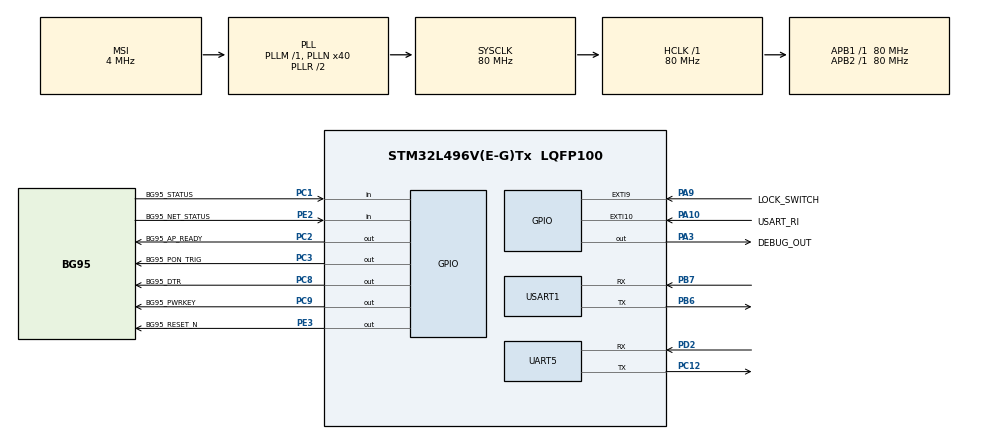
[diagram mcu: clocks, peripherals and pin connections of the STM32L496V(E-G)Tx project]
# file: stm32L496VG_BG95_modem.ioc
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Dma.Request0=USART1_RX
Dma.USART1_RX.0.Direction=DMA_PERIPH_TO_MEMORY
Dma.USART1_RX.0.Instance=DMA1_Channel5
Dma.USART1_RX.0.MemDataAlignment=DMA_MDATAALIGN_BYTE
Dma.USART1_RX.0.MemInc=DMA_MINC_ENABLE
Dma.USART1_RX.0.Mode=DMA_CIRCULAR
Dma.USART1_RX.0.PeriphDataAlignment=DMA_PDATAALIGN_BYTE
Dma.USART1_RX.0.PeriphInc=DMA_PINC_DISABLE
Dma.USART1_RX.0.Priority=DMA_PRIORITY_LOW
Mcu.Family=STM32L4
Mcu.Name=STM32L496V(E-G)Tx
Mcu.Package=LQFP100
NVIC.DMA1_Channel5_IRQn=true\:0\:0\:false\:false\:true\:false\:true\:true
NVIC.PriorityGroup=NVIC_PRIORITYGROUP_4
NVIC.USART1_IRQn=true\:0\:0\:false\:false\:true\:true\:true\:true
PA10.GPIO_Label=USART_RI
PA10.Signal=GPXTI10
PA3.GPIO_Label=DEBUG_OUT
PA3.Signal=GPIO_Output
PA9.GPIO_Label=LOCK_SWITCH
PA9.Signal=GPXTI9
PB6.Mode=Asynchronous
PB6.Signal=USART1_TX
PB7.GPIO_FM7=__NULL
PB7.GPIO_ModeDefaultPP=GPIO_MODE_AF_PP
PB7.GPIO_PuPd=GPIO_PULLUP
PB7.GPIO_Speed=GPIO_SPEED_FREQ_VERY_HIGH
PB7.Mode=Asynchronous
PB7.Signal=USART1_RX
PC1.GPIO_Label=BG95_STATUS
PC1.Signal=GPIO_Input
PC12.Mode=Asynchronous
PC12.Signal=UART5_TX
PC2.GPIO_Label=BG95_AP_READY
PC2.Signal=GPIO_Output
PC3.GPIO_Label=BG95_PON_TRIG
PC3.Signal=GPIO_Output
PC8.GPIO_Label=BG95_DTR
PC8.Signal=GPIO_Output
PC9.GPIO_Label=BG95_PWRKEY
PC9.PinState=GPIO_PIN_SET
PC9.Signal=GPIO_Output
PD2.Mode=Asynchronous
PD2.Signal=UART5_RX
PE2.GPIO_Label=BG95_NET_STATUS
PE2.Signal=GPIO_Input
PE3.GPIO_Label=BG95_RESET_N
PE3.PinState=GPIO_PIN_SET
PE3.Signal=GPIO_Output
ProjectManager.HeapSize=0x200
ProjectManager.StackSize=0x400
ProjectManager.TargetToolchain=STM32CubeIDE
RCC.AHBFreq_Value=80000000
RCC.APB1Freq_Value=80000000
RCC.APB1TimFreq_Value=80000000
RCC.APB2Freq_Value=80000000
RCC.APB2TimFreq_Value=80000000
RCC.CortexFreq_Value=80000000
RCC.HCLKFreq_Value=80000000
RCC.HSE_VALUE=8000000
RCC.HSI48_VALUE=48000000
RCC.HSI_VALUE=16000000
RCC.LSE_VALUE=32768
RCC.MSI_VALUE=4000000
RCC.PLLN=40
RCC.SYSCLKFreq_VALUE=80000000
RCC.SYSCLKSource=RCC_SYSCLKSOURCE_PLLCLK
RCC.VCOOutputFreq_Value=160000000
USART1.OverrunDisableParam=ADVFEATURE_OVERRUN_ENABLE
USART1.VirtualMode-Asynchronous=VM_ASYNC
board=custom

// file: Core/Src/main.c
/* USER CODE BEGIN Header */
/**
  ******************************************************************************
  * @file           : main.c
  * @brief          : Main program body
  ******************************************************************************
  * @attention
  *
  * <h2><center>&copy; Copyright (c) 2022 STMicroelectronics.
  * All rights reserved.</center></h2>
  *
  * This software component is licensed by ST under BSD 3-Clause license,
  * the "License"; You may not use this file except in compliance with the
  * License. You may obtain a copy of the License at:
  *                        opensource.org/licenses/BSD-3-Clause
  *
  ******************************************************************************
  */
/* USER CODE END Header */
#include "main.h"

/* USER CODE BEGIN Includes */
#include <stdbool.h>
#include <stdio.h>
#include <string.h>
/* USER CODE END Includes */

/* USER CODE BEGIN PTD */
#define RX_BUFFER_LEN 1024
/* USER CODE END PTD */

UART_HandleTypeDef huart5;
UART_HandleTypeDef huart1;
DMA_HandleTypeDef hdma_usart1_rx;

/* USER CODE BEGIN PV */
uint8_t receive_buffer[RX_BUFFER_LEN];
char msg[80];
/* USER CODE END PV */

void SystemClock_Config(void);
static void MX_GPIO_Init(void);
static void MX_USART1_UART_Init(void);
static void MX_DMA_Init(void);
static void MX_UART5_Init(void);

/* USER CODE BEGIN 0 */
void debug_write(char *data){
  HAL_UART_Transmit(&huart5, (uint8_t *) data , strlen(data), 10000);
}

void write_ati(){
  HAL_StatusTypeDef status = HAL_UART_Transmit(&huart1, (uint8_t *) "ATI\r", 4 , 100);
  if(status != HAL_OK){
    debug_write("Err Tx\r\n");
  }
}

void check_overflow_flag(){
  if(__HAL_UART_GET_FLAG(&huart1, UART_FLAG_ORE)){
      debug_write("Overrun\r\n");
      __HAL_UART_CLEAR_OREFLAG(&huart1);
  }
  else{
    debug_write("No overrun\r\n");
  }
}

void receive_write_directly(){
  int rx = 0;
  char msg[80];
  HAL_StatusTypeDef status;
  while(1){
    status = HAL_UART_Receive(&huart1, receive_buffer, 1, 100);
    if(status == HAL_OK){
      rx++;
      HAL_UART_Transmit(&huart5, receive_buffer, 1, 100);
    }
    else if(status == HAL_TIMEOUT){
      sprintf(msg, "RX: %d\r\n", rx);
      debug_write("Timeout\r\n");
      return;
    }
    else{
      debug_write("Err Rx\r\n");
      return;
    }
  }
}

void receive_store_first(){
  int rx = 0;
  char msg[80];
  uint8_t recv[100];
  HAL_StatusTypeDef status;
  while(1){
    status = HAL_UART_Receive(&huart1, receive_buffer, 1, 100);
    if(status == HAL_OK){
      recv[rx] = receive_buffer[0];
      rx++;
    }
    else if(status == HAL_TIMEOUT){
      sprintf(msg, "RX: %d\r\n", rx);
      debug_write(msg);
      debug_write("Timeout\r\n");
      HAL_UART_Transmit(&huart5, recv, rx, 100);
      return;
    }
    else{
      debug_write("Err Rx\r\n");
      return;
    }
  }
}

uint8_t get_bytes_received(){
  return RX_BUFFER_LEN - huart1.hdmarx->Instance->CNDTR;
}

void receive_dma(){
  HAL_StatusTypeDef status;
  status = HAL_UART_Receive_DMA(&huart1, receive_buffer, RX_BUFFER_LEN);
  if(status != HAL_OK){
    debug_write("DMA Err\r\n");
  }
  while(1){
    sprintf(msg, "DMA Rx count: %d\r\n", get_bytes_received());
    debug_write(msg);

    if(get_bytes_received() == 56){
      HAL_UART_Transmit(&huart5, receive_buffer, 56, 100);
      return;
    }
  }
}

static bool system_bg_module_is_powered_on(void){
    return HAL_GPIO_ReadPin(BG95_STATUS_GPIO_Port, BG95_STATUS_Pin) != 0;
}

void bg_reset(){
  HAL_GPIO_WritePin(BG95_RESET_N_GPIO_Port, BG95_RESET_N_Pin, GPIO_PIN_RESET);
  HAL_Delay(300);
  HAL_GPIO_WritePin(BG95_RESET_N_GPIO_Port, BG95_RESET_N_Pin, GPIO_PIN_SET);
}

void HAL_UART_ErrorCallback(UART_HandleTypeDef *huart)
{
  uint32_t errorCode = huart->ErrorCode;
  sprintf(msg, "Err CB: %lu\r\n", errorCode);
  check_overflow_flag();
  debug_write(msg);
}

void HAL_UART_RxCpltCallback(UART_HandleTypeDef *huart){
  HAL_GPIO_WritePin(DEBUG_OUT_GPIO_Port, DEBUG_OUT_Pin, GPIO_PIN_SET);
  HAL_GPIO_WritePin(DEBUG_OUT_GPIO_Port, DEBUG_OUT_Pin, GPIO_PIN_RESET);
  debug_write("Rx\r\n");
}

/* USER CODE END 0 */

int main(void)
{

  /* MCU Configuration--------------------------------------------------------*/

  /* Reset of all peripherals, Initializes the Flash interface and the Systick. */
  HAL_Init();

  /* Configure the system clock */
  SystemClock_Config();

  /* Initialize all configured peripherals */
  MX_GPIO_Init();
  MX_DMA_Init();
  MX_USART1_UART_Init();
  MX_UART5_Init();
  /* USER CODE BEGIN 2 */

  debug_write("Reset\r\n");
  bg_reset();
  while(!system_bg_module_is_powered_on()){
    HAL_GPIO_WritePin(DEBUG_OUT_GPIO_Port, DEBUG_OUT_Pin, GPIO_PIN_RESET);
  }

  debug_write("Start\r\n");
  /* USER CODE END 2 */

  /* Infinite loop */
  /* USER CODE BEGIN WHILE */
	memset(receive_buffer, '\0', RX_BUFFER_LEN);
  //status = HAL_UART_Receive_IT(&huart1, receive_buffer, receive_buffer_length);
  //status = HAL_UART_Transmit(&huart1, bg95_uart_echo_cmd, strlen(bg95_uart_echo_cmd), 1000);
  while (1)
  {
    /* USER CODE END WHILE */

    /* USER CODE BEGIN 3 */
    HAL_Delay(1000);

    debug_write("==Start write_direct==\r\n");
    write_ati();
    receive_write_directly();
    check_overflow_flag();

    debug_write("==Start write_store==\r\n");
    write_ati();
    receive_store_first();
    check_overflow_flag();

    debug_write("==Start write_dma==\r\n");
    write_ati();
    receive_dma();
    check_overflow_flag();

    while(1);
  }
  /* USER CODE END 3 */
}

void SystemClock_Config(void)
{
  RCC_OscInitTypeDef RCC_OscInitStruct = {0};
  RCC_ClkInitTypeDef RCC_ClkInitStruct = {0};

  /** Configure the main internal regulator output voltage
  */
  if (HAL_PWREx_ControlVoltageScaling(PWR_REGULATOR_VOLTAGE_SCALE1) != HAL_OK)
  {
    Error_Handler();
  }
  /** Initializes the RCC Oscillators according to the specified parameters
  * in the RCC_OscInitTypeDef structure.
  */
  RCC_OscInitStruct.OscillatorType = RCC_OSCILLATORTYPE_MSI;
  RCC_OscInitStruct.MSIState = RCC_MSI_ON;
  RCC_OscInitStruct.MSICalibrationValue = 0;
  RCC_OscInitStruct.MSIClockRange = RCC_MSIRANGE_6;
  RCC_OscInitStruct.PLL.PLLState = RCC_PLL_ON;
  RCC_OscInitStruct.PLL.PLLSource = RCC_PLLSOURCE_MSI;
  RCC_OscInitStruct.PLL.PLLM = 1;
  RCC_OscInitStruct.PLL.PLLN = 40;
  RCC_OscInitStruct.PLL.PLLP = RCC_PLLP_DIV2;
  RCC_OscInitStruct.PLL.PLLQ = RCC_PLLQ_DIV2;
  RCC_OscInitStruct.PLL.PLLR = RCC_PLLR_DIV2;
  if (HAL_RCC_OscConfig(&RCC_OscInitStruct) != HAL_OK)
  {
    Error_Handler();
  }
  /** Initializes the CPU, AHB and APB buses clocks
  */
  RCC_ClkInitStruct.ClockType = RCC_CLOCKTYPE_HCLK|RCC_CLOCKTYPE_SYSCLK
                              |RCC_CLOCKTYPE_PCLK1|RCC_CLOCKTYPE_PCLK2;
  RCC_ClkInitStruct.SYSCLKSource = RCC_SYSCLKSOURCE_PLLCLK;
  RCC_ClkInitStruct.AHBCLKDivider = RCC_SYSCLK_DIV1;
  RCC_ClkInitStruct.APB1CLKDivider = RCC_HCLK_DIV1;
  RCC_ClkInitStruct.APB2CLKDivider = RCC_HCLK_DIV1;

  if (HAL_RCC_ClockConfig(&RCC_ClkInitStruct, FLASH_LATENCY_4) != HAL_OK)
  {
    Error_Handler();
  }
}

static void MX_UART5_Init(void)
{

  huart5.Instance = UART5;
  huart5.Init.BaudRate = 115200;
  huart5.Init.WordLength = UART_WORDLENGTH_8B;
  huart5.Init.StopBits = UART_STOPBITS_1;
  huart5.Init.Parity = UART_PARITY_NONE;
  huart5.Init.Mode = UART_MODE_TX_RX;
  huart5.Init.HwFlowCtl = UART_HWCONTROL_NONE;
  huart5.Init.OverSampling = UART_OVERSAMPLING_16;
  huart5.Init.OneBitSampling = UART_ONE_BIT_SAMPLE_DISABLE;
  huart5.AdvancedInit.AdvFeatureInit = UART_ADVFEATURE_NO_INIT;
  if (HAL_UART_Init(&huart5) != HAL_OK)
  {
    Error_Handler();
  }

}

static void MX_USART1_UART_Init(void)
{

  huart1.Instance = USART1;
  huart1.Init.BaudRate = 115200;
  huart1.Init.WordLength = UART_WORDLENGTH_8B;
  huart1.Init.StopBits = UART_STOPBITS_1;
  huart1.Init.Parity = UART_PARITY_NONE;
  huart1.Init.Mode = UART_MODE_TX_RX;
  huart1.Init.HwFlowCtl = UART_HWCONTROL_NONE;
  huart1.Init.OverSampling = UART_OVERSAMPLING_16;
  huart1.Init.OneBitSampling = UART_ONE_BIT_SAMPLE_DISABLE;
  huart1.AdvancedInit.AdvFeatureInit = UART_ADVFEATURE_NO_INIT;
  if (HAL_UART_Init(&huart1) != HAL_OK)
  {
    Error_Handler();
  }

}

static void MX_DMA_Init(void)
{

  /* DMA controller clock enable */
  __HAL_RCC_DMA1_CLK_ENABLE();

  /* DMA interrupt init */
  /* DMA1_Channel5_IRQn interrupt configuration */
  HAL_NVIC_SetPriority(DMA1_Channel5_IRQn, 0, 0);
  HAL_NVIC_EnableIRQ(DMA1_Channel5_IRQn);

}

static void MX_GPIO_Init(void)
{
  GPIO_InitTypeDef GPIO_InitStruct = {0};

  /* GPIO Ports Clock Enable */
  __HAL_RCC_GPIOE_CLK_ENABLE();
  __HAL_RCC_GPIOC_CLK_ENABLE();
  __HAL_RCC_GPIOA_CLK_ENABLE();
  __HAL_RCC_GPIOD_CLK_ENABLE();
  __HAL_RCC_GPIOB_CLK_ENABLE();

  /*Configure GPIO pin Output Level */
  HAL_GPIO_WritePin(BG95_RESET_N_GPIO_Port, BG95_RESET_N_Pin, GPIO_PIN_SET);

  /*Configure GPIO pin Output Level */
  HAL_GPIO_WritePin(GPIOC, BG95_AP_READY_Pin|BG95_PON_TRIG_Pin|BG95_DTR_Pin, GPIO_PIN_RESET);

  /*Configure GPIO pin Output Level */
  HAL_GPIO_WritePin(DEBUG_OUT_GPIO_Port, DEBUG_OUT_Pin, GPIO_PIN_RESET);

  /*Configure GPIO pin Output Level */
  HAL_GPIO_WritePin(BG95_PWRKEY_GPIO_Port, BG95_PWRKEY_Pin, GPIO_PIN_SET);

  /*Configure GPIO pin : BG95_NET_STATUS_Pin */
  GPIO_InitStruct.Pin = BG95_NET_STATUS_Pin;
  GPIO_InitStruct.Mode = GPIO_MODE_INPUT;
  GPIO_InitStruct.Pull = GPIO_NOPULL;
  HAL_GPIO_Init(BG95_NET_STATUS_GPIO_Port, &GPIO_InitStruct);

  /*Configure GPIO pin : BG95_RESET_N_Pin */
  GPIO_InitStruct.Pin = BG95_RESET_N_Pin;
  GPIO_InitStruct.Mode = GPIO_MODE_OUTPUT_PP;
  GPIO_InitStruct.Pull = GPIO_NOPULL;
  GPIO_InitStruct.Speed = GPIO_SPEED_FREQ_LOW;
  HAL_GPIO_Init(BG95_RESET_N_GPIO_Port, &GPIO_InitStruct);

  /*Configure GPIO pin : BG95_STATUS_Pin */
  GPIO_InitStruct.Pin = BG95_STATUS_Pin;
  GPIO_InitStruct.Mode = GPIO_MODE_INPUT;
  GPIO_InitStruct.Pull = GPIO_NOPULL;
  HAL_GPIO_Init(BG95_STATUS_GPIO_Port, &GPIO_InitStruct);

  /*Configure GPIO pins : BG95_AP_READY_Pin BG95_PON_TRIG_Pin BG95_DTR_Pin BG95_PWRKEY_Pin */
  GPIO_InitStruct.Pin = BG95_AP_READY_Pin|BG95_PON_TRIG_Pin|BG95_DTR_Pin|BG95_PWRKEY_Pin;
  GPIO_InitStruct.Mode = GPIO_MODE_OUTPUT_PP;
  GPIO_InitStruct.Pull = GPIO_NOPULL;
  GPIO_InitStruct.Speed = GPIO_SPEED_FREQ_LOW;
  HAL_GPIO_Init(GPIOC, &GPIO_InitStruct);

  /*Configure GPIO pin : DEBUG_OUT_Pin */
  GPIO_InitStruct.Pin = DEBUG_OUT_Pin;
  GPIO_InitStruct.Mode = GPIO_MODE_OUTPUT_PP;
  GPIO_InitStruct.Pull = GPIO_NOPULL;
  GPIO_InitStruct.Speed = GPIO_SPEED_FREQ_LOW;
  HAL_GPIO_Init(DEBUG_OUT_GPIO_Port, &GPIO_InitStruct);

  /*Configure GPIO pins : LOCK_SWITCH_Pin USART_RI_Pin */
  GPIO_InitStruct.Pin = LOCK_SWITCH_Pin|USART_RI_Pin;
  GPIO_InitStruct.Mode = GPIO_MODE_IT_RISING;
  GPIO_InitStruct.Pull = GPIO_NOPULL;
  HAL_GPIO_Init(GPIOA, &GPIO_InitStruct);

}

void Error_Handler(void)
{
  __disable_irq();
  while (1)
  {
  }
}
